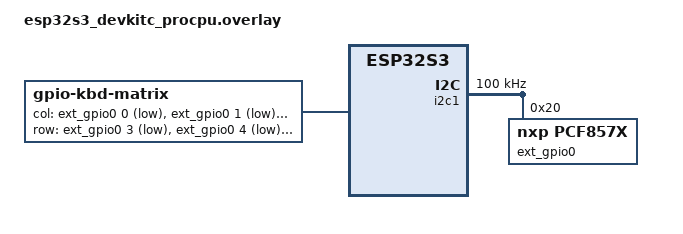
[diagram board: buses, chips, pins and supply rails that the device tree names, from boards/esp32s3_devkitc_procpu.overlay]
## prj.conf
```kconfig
# Copyright (c) 2026 wmrsouza@hotmail.com
# SPDX-License-Identifier: Apache-2.0
#
# This file contains selected Kconfig options for the application.

# CONFIG_SENSOR=y
# CONFIG_BLINK=y

CONFIG_LOG=y
# CONFIG_APP_LOG_LEVEL_ERR=y /* 1 */
# CONFIG_APP_LOG_LEVEL_WRN=y /* 2 */
# CONFIG_APP_LOG_LEVEL_INF=y /* 3 */
# CONFIG_APP_LOG_LEVEL_DBG=y /* 4 */

# CONFIG_LOG_MODE_MINIMAL=y
CONFIG_LOG_MODE_IMMEDIATE=y
# CONFIG_LOG_MODE_DEFERRED=y

CONFIG_INPUT=y
# CONFIG_INPUT_EVENT_DUMP=y

# CONFIG_SHELL=y
# CONFIG_SHELL_BACKEND_SERIAL=y
# CONFIG_SHELL_TAB=y
# CONFIG_SHELL_HISTORY=y
# CONFIG_KERNEL_SHELL=y
# CONFIG_GPIO_SHELL=y
# CONFIG_INPUT_SHELL=y
# CONFIG_INPUT_SHELL_KBD_MATRIX_STATE=y
```

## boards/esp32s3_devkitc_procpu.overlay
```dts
#include <zephyr/dt-bindings/input/input-event-codes.h>
#include <zephyr/dt-bindings/input/keymap.h>

/ {

	/* chosen { */
	/* 	zephyr,console = &uart0; */
	/* 	zephyr,shell-uart = &uart0; */
	/* }; */

	/* aliases { */
	/* 	led0 = &white_led; */
	/* 	sw0  = &button0; */
	/* }; */

	/* leds { */
	/* 	compatible = "gpio-leds"; */
	/**/
	/* 	white_led: led_2 { */
	/* 		gpios = <&gpio0 18 GPIO_ACTIVE_HIGH>; */
	/* 		label = "Blue - LED2"; */
	/* 	}; */
	/**/
	/* 	back_light_led_k: led_k { */
	/* 		gpios = <&gpio0 21 GPIO_ACTIVE_HIGH>; */
	/* 		label = "back_light - LED_K"; */
	/* 	}; */
	/* }; */

	/* 3x3 keyboard matrix on ext_gpio0 (PCF8574 @ i2c1). Hardware:
	 * - Cols: P0,P1,P2 via diodes (anode=col, cathode=PCF8574). No GPIO_PULL_UP/PULL_DOWN on PCF857x.
	 * - Rows: P3,P4,P5 with external pull-ups to VCC; rows read as inputs.
	 */
	kbd: kbd-matrix {
		compatible = "gpio-kbd-matrix";
		status = "okay";
		idle-mode = "poll";
		poll-period-ms = <5>;
		stable-poll-period-ms = <5>;
		poll-timeout-ms = <25>;
		debounce-down-ms = <5>;
		debounce-up-ms = <5>;
		settle-time-us = <110>;
		no-ghostkey-check;
		col-drive-inactive;
		col-gpios = <&ext_gpio0 0 GPIO_ACTIVE_LOW>,
			    <&ext_gpio0 1 GPIO_ACTIVE_LOW>,
			    <&ext_gpio0 2 GPIO_ACTIVE_LOW>;
		row-gpios = <&ext_gpio0 3 GPIO_ACTIVE_LOW>,
			    <&ext_gpio0 4 GPIO_ACTIVE_LOW>,
			    <&ext_gpio0 5 GPIO_ACTIVE_LOW>;

		keymap: keymap {
			compatible = "input-keymap";
			keymap = <MATRIX_KEY(0, 0, INPUT_KEY_7)
				  MATRIX_KEY(0, 1, INPUT_KEY_1)
				  MATRIX_KEY(0, 2, INPUT_KEY_2)
				  MATRIX_KEY(1, 0, INPUT_KEY_3)
				  MATRIX_KEY(1, 1, INPUT_KEY_5)
				  MATRIX_KEY(1, 2, INPUT_KEY_6)
				  MATRIX_KEY(2, 0, INPUT_KEY_7)
				  MATRIX_KEY(2, 1, INPUT_KEY_8)
				  MATRIX_KEY(2, 2, INPUT_KEY_9)>;
			row-size = <3>;
			col-size = <3>;
		};
	};
};

/* &pinctrl { */
/*   i2c1_default: i2c1_default { */
/*     group1 { */
/*       pinmux = <I2C1_SDA_GPIO5>, */
/*           <I2C1_SCL_GPIO6>; */
/*       bias-pull-up; */
/*       drive-open-drain; */
/*       output-high; */
/*     }; */
/*   }; */
/* }; */

&i2c1 {
	status = "okay";

	clock-frequency = <I2C_BITRATE_STANDARD>;
	pinctrl-0 = <&i2c1_default>;
	pinctrl-names = "default";

	ext_gpio0: pcf8574@20 {
		compatible = "nxp,pcf857x";
    status = "okay";

		reg = <0x20>;
		gpio-controller;
		ngpios = <8>;
		#gpio-cells = <2>;
		/* int-gpios = <&gpio0 4 (GPIO_PULL_UP | GPIO_ACTIVE_LOW)>; */
	};
};

/* &gpio0 { */
/*   gpio0_p18: P18 { */
/*     gpio-hog; */
/*     gpios = <18 GPIO_ACTIVE_HIGH>; */
/*     output-low; */
/*   }; */
/**/
/*   gpio0_p21: P21 { */
/*     gpio-hog; */
/*     gpios = <21 GPIO_ACTIVE_LOW>; */
/*     output-high; */
/*   }; */
/* }; */
```

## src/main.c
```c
/*
 * Copyright (c) 2026 wmrsouza@hotmail.com
 * SPDX-License-Identifier: Apache-2.0
 */

#include <zephyr/kernel.h>
#include <zephyr/input/input.h>
#include <zephyr/dt-bindings/input/input-event-codes.h>

#include <zephyr/logging/log.h>
LOG_MODULE_REGISTER(main, CONFIG_APP_LOG_LEVEL);

#include <app_version.h>

#define KBD_NODE DT_NODELABEL(kbd)
#define KBD_DEV  DEVICE_DT_GET(KBD_NODE)

#define KEYMAP_NODE DT_NODELABEL(keymap)
#define KEYMAP_DEV  DEVICE_DT_GET(KEYMAP_NODE)

static const struct device *input_dev;

static void input_cb(struct input_event *evt, void *user_data)
{
	if (input_dev != NULL && evt->dev != input_dev) {
		return;
	}

	if (evt->type != INPUT_EV_KEY) {
		return;
	}

	LOG_INF("key 0x%x %s", evt->code, evt->value ? "pressed" : "released");
}

void register_input_cb(const struct device *dev)
{
	input_dev = dev;
}

INPUT_CALLBACK_DEFINE(NULL, input_cb, NULL);

int main(void)
{
	LOG_INF("Zephyr Example Application %s", APP_VERSION_STRING);
	LOG_WRN("Zephyr Example Application %s", APP_VERSION_STRING);
	LOG_ERR("Zephyr Example Application %s", APP_VERSION_STRING);
	LOG_DBG("Zephyr Example Application %s", APP_VERSION_STRING);

	if (!device_is_ready(KBD_DEV)) {
		LOG_ERR("%s: device not ready.", KBD_DEV->name);
		return 0;
	}

	if (device_is_ready(KEYMAP_DEV)) {
		register_input_cb(KEYMAP_DEV);
		LOG_INF("input callback registered");
	} else {
		LOG_WRN("keymap device not ready, input callback not registered");
	}

	while (1) {
		k_sleep(K_MSEC(100));
	}

	return 0;
}
```
